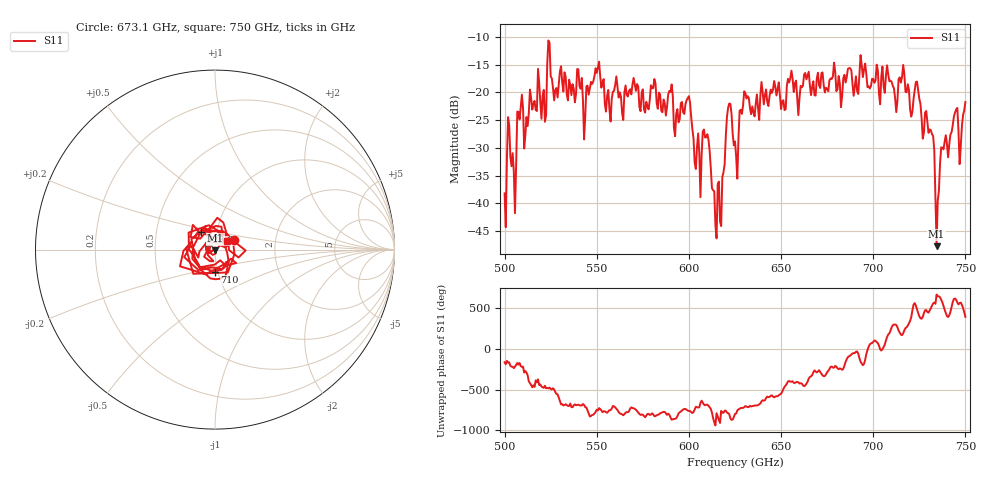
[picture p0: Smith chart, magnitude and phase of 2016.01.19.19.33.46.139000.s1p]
!Created with skrf (http://scikit-rf.org).
# GHz S RI R 50.0
!freq ReS11 ImS11
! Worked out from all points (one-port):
!   401 points, 500 GHz to 750 GHz, reference 50 ohm
!   lowest |S11| = -47.7 dB at 734.4 GHz (marker M1), VSWR 1.01, Z = 50.3 - j0.314 ohm
!   |S11| at or under -10 dB: start of sweep to end of sweep
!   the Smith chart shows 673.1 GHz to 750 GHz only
!   S11 on the Smith chart (normalised r, x): 673.1 GHz: 1.22, +0.13; 710 GHz: 0.97, -0.24; 723.8 GHz: 0.84, +0.16; 750 GHz: 1.14, +0.11
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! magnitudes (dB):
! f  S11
! 500 GHz  -38.2
! 502.5 GHz  -25.9
! 505 GHz  -34.3
! 508.1 GHz  -24.9
! 521.2 GHz  -19.6
! 524.4 GHz  -11.1
! 527.5 GHz  -19.6
! 531.2 GHz  -18.2
! 562.5 GHz  -20.0
! 590 GHz  -19.9
! 593.8 GHz  -23.0
! 599.4 GHz  -21.0
! 605 GHz  -27.4
! 609.4 GHz  -28.1
! 615.6 GHz  -36.5
! 621.9 GHz  -22.0
! 625 GHz  -28.8
! 631.2 GHz  -21.1
! 656.2 GHz  -17.6
! 673.1 GHz  -18.7
! 687.5 GHz  -15.7
! 710 GHz  -18.1
! 718.8 GHz  -18.5
! 723.8 GHz  -18.1
! 731.9 GHz  -27.5
! 734.4 GHz  -47.7
! 738.1 GHz  -30.3
! 750 GHz  -21.8
